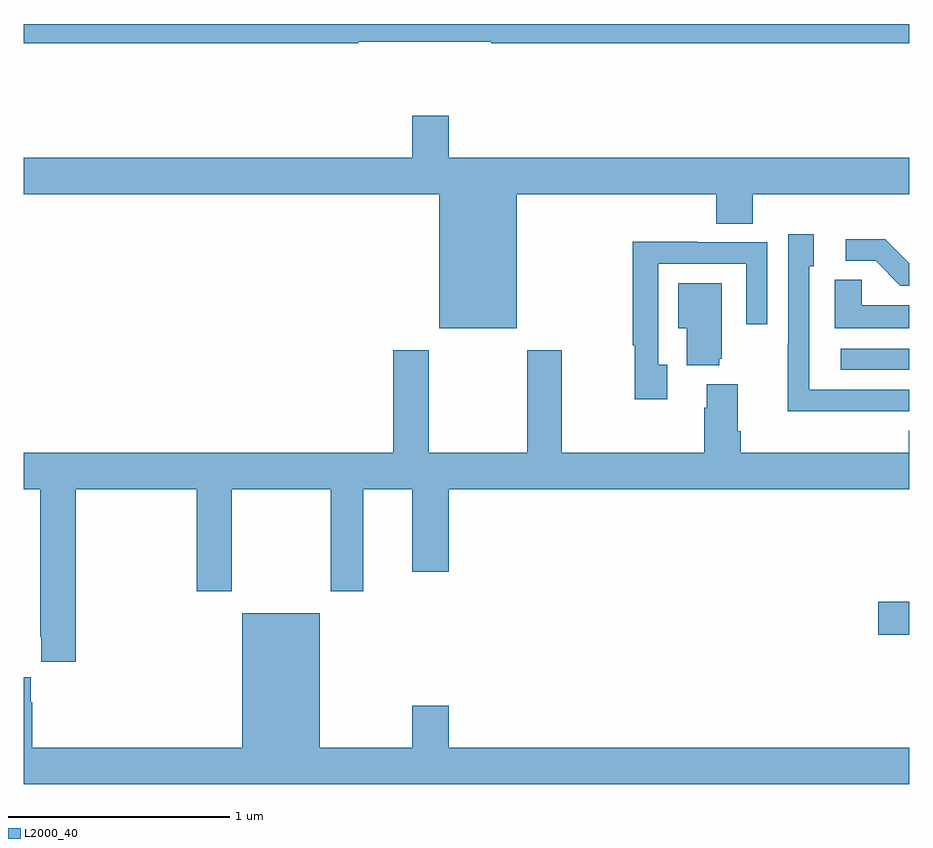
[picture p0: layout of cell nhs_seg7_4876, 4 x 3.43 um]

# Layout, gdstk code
import gdstk
lib = gdstk.Library(unit=1e-6, precision=1e-09)
def R(c, l, rs):  # rectangles x0, y0, x1, y1
    for r in rs: c.add(gdstk.rectangle(r[:2], r[2:], *l))
def P(c, l, *ps):  # polygons
    for p in ps: c.add(gdstk.Polygon(p, *l))
L2000_40 = (2000, 40)

nhs_seg7_4876 = lib.new_cell('nhs_seg7_4876')
R(nhs_seg7_4876, L2000_40, [(418.86,1049.243,419,1049.39), (418.689,1050.438,419,1050.534)])
P(nhs_seg7_4876, L2000_40, [(416.512,1051.92),(417.112,1051.92),(417.112,1051.912),(419,1051.912),(419,1052),(415,1052),(415,1051.912),(416.512,1051.912)],
  [(417.226,1051.232),(418.127,1051.232),(418.127,1051.099),(418.292,1051.099),(418.292,1051.232),(419,1051.232),(419,1051.396),(416.92,1051.396),(416.92,1051.585),(416.756,1051.585),(416.756,1051.396),(415,1051.396),(415,1051.232),(416.876,1051.232),(416.876,1050.626),(417.226,1050.626)],
  [(418.913,1050.252),(419,1050.252),(419,1050.348),(418.548,1050.348),(418.548,1050.906),(418.567,1050.906),(418.567,1051.051),(418.452,1051.051),(418.452,1050.557),(418.45,1050.557),(418.45,1050.251),(418.913,1050.251)],
  [(419,1050.919),(418.891,1051.028),(418.713,1051.028),(418.713,1050.93),(418.847,1050.93),(418.958,1050.819),(419,1050.819)],
  [(417.907,1050.462),(417.867,1050.462),(417.867,1050.918),(418.263,1050.918),(418.263,1050.645),(418.359,1050.645),(418.359,1051.014),(418.043,1051.014),(418.043,1051.016),(417.751,1051.016),(417.751,1050.55),(417.759,1050.55),(417.759,1050.306),(417.907,1050.306)],
  [(419,1050.73),(418.785,1050.73),(418.785,1050.845),(418.664,1050.845),(418.664,1050.626),(419,1050.626)],
  [(418.142,1050.489),(418.153,1050.489),(418.153,1050.829),(417.956,1050.829),(417.956,1050.626),(417.995,1050.626),(417.995,1050.458),(418.142,1050.458)],
  [(415.235,1049.9),(415.781,1049.9),(415.781,1049.439),(415.941,1049.439),(415.941,1049.9),(416.386,1049.9),(416.386,1049.439),(416.533,1049.439),(416.533,1049.9),(416.756,1049.9),(416.756,1049.526),(416.92,1049.526),(416.92,1049.9),(419,1049.9),(419,1050.163),(418.997,1050.163),(418.997,1050.064),(418.238,1050.064),(418.238,1050.16),(418.225,1050.16),(418.225,1050.373),(418.085,1050.373),(418.085,1050.266),(418.073,1050.266),(418.073,1050.064),(417.429,1050.064),(417.429,1050.526),(417.274,1050.526),(417.274,1050.064),(416.829,1050.064),(416.829,1050.526),(416.669,1050.526),(416.669,1050.064),(415,1050.064),(415,1049.9),(415.075,1049.9),(415.075,1049.233),(415.079,1049.233),(415.079,1049.121),(415.235,1049.121)],
  [(419,1048.732),(416.92,1048.732),(416.92,1048.921),(416.756,1048.921),(416.756,1048.732),(416.338,1048.732),(416.338,1049.338),(415.988,1049.338),(415.988,1048.732),(415.04,1048.732),(415.04,1048.937),(415.033,1048.937),(415.033,1049.05),(415,1049.05),(415,1048.568),(419,1048.568)])

lib.write_gds('nhs_seg7_4876.gds')
